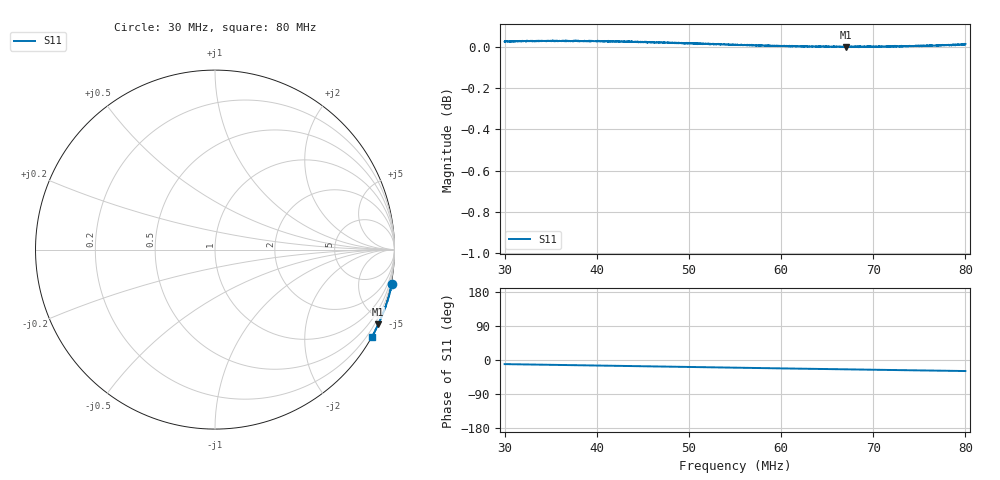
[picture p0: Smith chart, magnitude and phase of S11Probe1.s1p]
#  HZ  S  DB  R  50.00
! Rohde & Schwarz Vector Network Analyzer
! Rohde-Schwarz,ZNB8-4Port,1311601044102961,2.82
! Created: UTC 2/11/2019, 2:04:47 PM
! freq[Hz]  db:S11  ang:S11
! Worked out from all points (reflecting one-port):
!   2001 points, 30 MHz to 80 MHz, reference 50 ohm
!   lowest |S11| = 0.0 dB at 67.03 MHz (marker M1)
!   phase of S11 starts at -11 deg and turns -18 deg over the sweep
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3e7  0.03 -10.9
3.02e7  0.03 -11.0
3.2725e7  0.03 -11.9
3.41e7  0.03 -12.4
3.625e7  0.03 -13.2
3.78e7  0.03 -13.8
3.8325e7  0.03 -14.0
3.96e7  0.03 -14.4
4.25e7  0.03 -15.5
4.5975e7  0.02 -16.8
4.875e7  0.02 -17.9
5.015e7  0.02 -18.4
5.1825e7  0.02 -19.1
5.3675e7  0.01 -19.8
5.5e7  0.01 -20.2
5.66e7  0.01 -20.9
5.8525e7  0.01 -21.6
6.125e7  0.00 -22.6
6.4575e7  0.00 -23.8
6.7025e7  -0.00 -24.7
6.75e7  0.00 -24.8
6.945e7  0.00 -25.5
7.375e7  0.00 -27.0
7.6125e7  0.01 -27.8
7.66e7  0.01 -28.0
7.71e7  0.01 -28.2
7.9775e7  0.01 -29.0
8e7  0.02 -29.1
